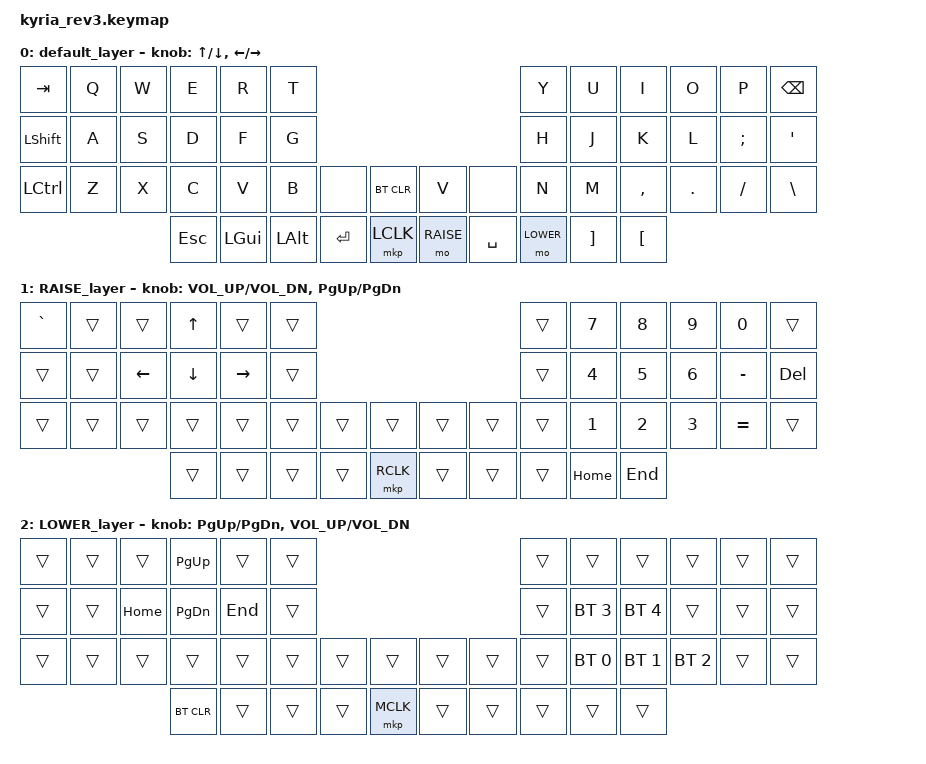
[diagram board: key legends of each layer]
/*
 * Copyright (c) 2023 The ZMK Contributors
 *
 * SPDX-License-Identifier: MIT
 */

#include <behaviors.dtsi>
#include <dt-bindings/zmk/bt.h>
#include <dt-bindings/zmk/rgb.h>
#include <dt-bindings/zmk/keys.h>
#include <dt-bindings/zmk/mouse.h>

#define BASE 0
#define RAISE 1
#define LOWER 2

&sensors {
    triggers-per-rotation = <38>;
};

/ {
    keymap {
        compatible = "zmk,keymap";

        default_layer {
			bindings = <
        // ╭──────────────┬──────────────┬──────────────┬──────────────┬──────────────┬──────────────╮                                                               ╭──────────────┬──────────────┬──────────────┬──────────────┬──────────────┬──────────────╮
            &kp TAB        &kp Q          &kp W          &kp E          &kp R          &kp T                                                                          &kp Y          &kp U          &kp I          &kp O          &kp P          &kp BSPC
        // ├──────────────┼──────────────┼──────────────┼──────────────┼──────────────┼──────────────┤                                                               ├──────────────┼──────────────┼──────────────┼──────────────┼──────────────┼──────────────┤
            &kp LSHFT      &kp A          &kp S          &kp D          &kp F          &kp G                                                                          &kp H          &kp J          &kp K          &kp L          &kp SEMI       &kp SQT
        // ├──────────────┼──────────────┼──────────────┼──────────────┼──────────────┼──────────────┼─────────────────────────────╮   ╭─────────────────────────────┼──────────────┼──────────────┼──────────────┼──────────────┼──────────────┼──────────────┤
            &kp LCTRL      &kp Z          &kp X          &kp C          &kp V          &kp B          &none          &bt BT_CLR         &kp V          &none          &kp N          &kp M          &kp COMMA      &kp DOT        &kp FSLH       &kp BSLH
        // ╰──────────────┴──────────────┴──────────────┼──────────────┼──────────────┼──────────────┼──────────────┼──────────────┤   ├──────────────┼──────────────┼──────────────┼──────────────┼──────────────┼──────────────┴──────────────┴──────────────╯
                                                         &kp ESC        &kp LGUI       &kp LALT       &kp RET        &mkp LCLK          &mo RAISE      &kp SPACE      &mo LOWER      &kp RBKT       &kp LBKT
        //                                              ╰──────────────┴──────────────┴──────────────┴──────────────┴──────────────╯   ╰──────────────┴──────────────┴──────────────┴──────────────┴──────────────╯
            >;

			sensor-bindings = <&inc_dec_kp UP_ARROW DOWN_ARROW &inc_dec_kp LEFT_ARROW RIGHT_ARROW>;
        };
        RAISE_layer {
            bindings = <
        // ╭──────────────┬──────────────┬──────────────┬──────────────┬──────────────┬──────────────╮                                                               ╭──────────────┬──────────────┬──────────────┬──────────────┬──────────────┬──────────────╮
            &kp GRAVE      &trans         &trans         &kp UP         &trans         &trans                                                                         &trans         &kp N7         &kp N8         &kp N9         &kp N0         &trans   
        // ├──────────────┼──────────────┼──────────────┼──────────────┼──────────────┼──────────────┤                                                               ├──────────────┼──────────────┼──────────────┼──────────────┼──────────────┼──────────────┤
            &trans         &trans         &kp LEFT       &kp DOWN       &kp RIGHT      &trans                                                                         &trans         &kp N4         &kp N5         &kp N6         &kp MINUS      &kp DEL  
        // ├──────────────┼──────────────┼──────────────┼──────────────┼──────────────┼──────────────┼─────────────────────────────╮   ╭─────────────────────────────┼──────────────┼──────────────┼──────────────┼──────────────┼──────────────┼──────────────┤
            &trans         &trans         &trans         &trans         &trans         &trans         &trans         &trans             &trans         &trans         &trans         &kp N1         &kp N2         &kp N3         &kp EQUAL      &trans   
        // ╰──────────────┴──────────────┴──────────────┼──────────────┼──────────────┼──────────────┼──────────────┼──────────────┤   ├──────────────┼──────────────┼──────────────┼──────────────┼──────────────┼──────────────┴──────────────┴──────────────╯
                                                         &trans         &trans         &trans         &trans         &mkp RCLK          &trans         &trans         &trans         &kp HOME       &kp END
        //                                              ╰──────────────┴──────────────┴──────────────┴──────────────┴──────────────╯   ╰──────────────┴──────────────┴──────────────┴──────────────┴──────────────╯
            >;

            sensor-bindings = <&inc_dec_kp C_VOL_UP C_VOL_DN &inc_dec_kp PG_UP PG_DN>;
        };
        LOWER_layer {
            bindings = <
        // ╭──────────────┬──────────────┬──────────────┬──────────────┬──────────────┬──────────────╮                                                               ╭──────────────┬──────────────┬──────────────┬──────────────┬──────────────┬──────────────╮
            &trans         &trans         &trans         &kp PG_UP      &trans         &trans                                                                         &trans         &trans         &trans         &trans         &trans         &trans   
        // ├──────────────┼──────────────┼──────────────┼──────────────┼──────────────┼──────────────┤                                                               ├──────────────┼──────────────┼──────────────┼──────────────┼──────────────┼──────────────┤
            &trans         &trans         &kp HOME       &kp PG_DN      &kp END        &trans                                                                         &trans         &bt BT_SEL 3   &bt BT_SEL 4   &trans         &trans         &trans   
        // ├──────────────┼──────────────┼──────────────┼──────────────┼──────────────┼──────────────┼─────────────────────────────╮   ╭─────────────────────────────┼──────────────┼──────────────┼──────────────┼──────────────┼──────────────┼──────────────┤
            &trans         &trans         &trans         &trans         &trans         &trans         &trans         &trans             &trans         &trans         &trans         &bt BT_SEL 0   &bt BT_SEL 1   &bt BT_SEL 2   &trans         &trans   
        // ╰──────────────┴──────────────┴──────────────┼──────────────┼──────────────┼──────────────┼──────────────┼──────────────┤   ├──────────────┼──────────────┼──────────────┼──────────────┼──────────────┼──────────────┴──────────────┴──────────────╯
                                                         &bt BT_CLR     &trans         &trans         &trans         &mkp MCLK          &trans         &trans         &trans         &trans         &trans 
        //                                              ╰──────────────┴──────────────┴──────────────┴──────────────┴──────────────╯   ╰──────────────┴──────────────┴──────────────┴──────────────┴──────────────╯
            >;

            sensor-bindings = <&inc_dec_kp PG_UP PG_DN &inc_dec_kp C_VOL_UP C_VOL_DN>;
        };
    };
};
